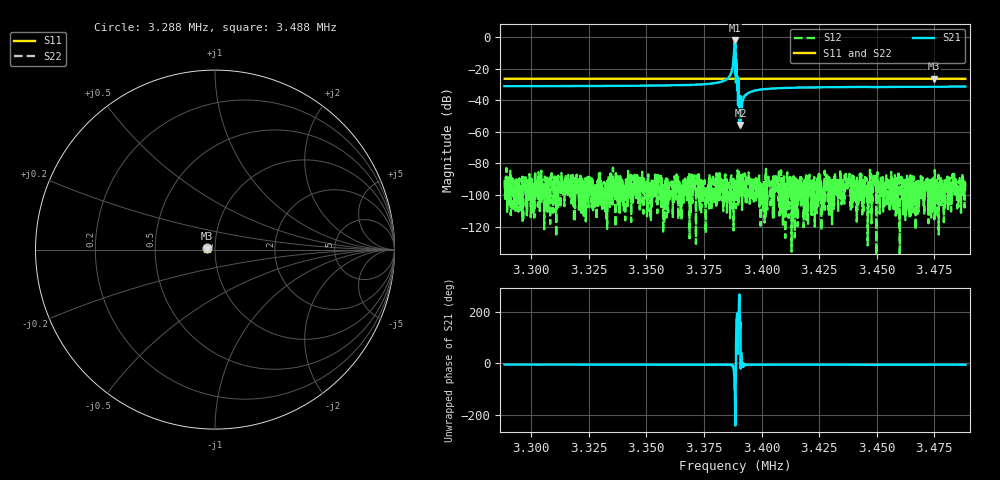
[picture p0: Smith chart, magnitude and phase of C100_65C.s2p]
# Hz S dB R 50.000
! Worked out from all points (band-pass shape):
!   6401 points, 3.288 MHz to 3.488 MHz, reference 50 ohm
!   highest |S21| = -2.25 dB at 3.388 MHz (marker M1); lowest = -55.7 dB at 3.391 MHz (marker M2)
!   |S21| within 3 dB of the highest: 3.388236 MHz to 3.388485 MHz (249 Hz wide, 0.00735 % of centre); 3.388589 MHz to 3.388597 MHz (8.233 Hz wide, 0.000243 % of centre)
!   lowest |S11| = -26.5 dB at 3.475 MHz (marker M3), VSWR 1.10, Z = 45.5 + j0.459 ohm
!   |S11| at or under -10 dB: start of sweep to end of sweep
!   |S22| runs from -26.5 to -26.4 dB; largest |S21 - S12| = 0.77
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3288438  -26.45 172.2  -31.16 -4.5  -90.69 -49.4  -26.37 166.8
3321782  -26.45 172.5  -31.04 -4.5  -95.54 94.0  -26.38 167.0
3355126  -26.46 172.8  -30.75 -4.7  -88.23 10.7  -26.39 167.4
3374126  -26.45 173.0  -30.00 -4.7  -97.34 -137.5  -26.40 167.5
3382719  -26.46 173.1  -28.23 -4.9  -99.36 4.3  -26.40 167.6
3386032  -26.46 173.1  -24.93 -5.2  -94.41 -23.2  -26.41 167.7
3386844  -26.46 173.1  -22.65 -6.5  -87.57 14.5  -26.40 167.7
3387282  -26.46 173.1  -19.88 -7.9  -90.62 6.0  -26.40 167.7
3387657  -26.47 173.1  -16.44 -8.4  -98.67 146.4  -26.40 167.7
3388438  -26.46 173.1  -2.25 -143.4  -96.10 -48.7  -26.38 167.5
3389126  -26.46 173.1  -19.51 167.2  -96.89 -56.6  -26.41 167.7
3389844  -26.46 173.1  -26.28 -163.0  -94.30 -164.7  -26.41 167.7
3390376  -26.46 173.2  -46.36 -100.4  -96.59 15.0  -26.40 167.7
3390813  -26.46 173.1  -55.65 158.8  -95.01 153.6  -26.40 167.7
3391282  -26.46 173.1  -47.31 23.4  -89.27 -53.4  -26.41 167.7
3391907  -26.46 173.2  -39.89 -0.9  -91.97 146.4  -26.40 167.7
3393094  -26.46 173.2  -36.54 -4.8  -92.93 95.2  -26.40 167.7
3397469  -26.46 173.2  -33.75 -4.9  -93.34 18.4  -26.41 167.8
3421782  -26.46 173.4  -31.92 -4.8  -92.57 60.2  -26.42 168.0
3455126  -26.47 173.7  -31.62 -5.0  -94.04 130.1  -26.43 168.4
3474688  -26.48 173.9  -31.52 -4.9  -93.49 9.2  -26.44 168.5
3488438  -26.48 174.0  -31.40 -4.9  -90.03 -73.0  -26.44 168.6
